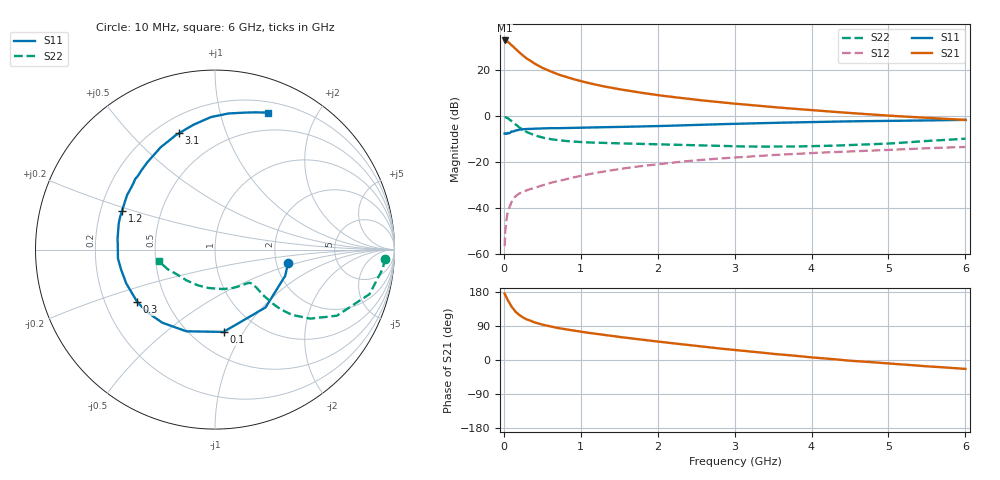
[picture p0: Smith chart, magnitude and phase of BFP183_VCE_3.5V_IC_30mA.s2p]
! Infineon Technologies  Discrete & RF Semiconductors
! BFP183
! VCE = 3.5 V,  IC =  30 mA
! Common Emitter S-Parameters:  Jan 2016
# GHz  S  MA  R  50
!  f  S11  S21  S12  S22
! GHz  MAG  ANG  MAG  ANG  MAG  ANG  MAG  ANG
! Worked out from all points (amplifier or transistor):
!   210 points, 10 MHz to 6 GHz, reference 50 ohm
!   highest |S21| = 32.7 dB at 10 MHz (marker M1)
!   |S21| within 3 dB of that: start of sweep to 131.6 MHz
!   unconditionally stable (mu >= 1): 648.4 MHz to 5.638 GHz
!   at 185 MHz: K = 0.48, MSG = 31.0 dB, |S12| = -34.0 dB
!   at 1.52 GHz: K = 1.17, MAG = 14.7 dB, |S12| = -23.0 dB
!   at 6 GHz: K = 0.95, MSG = 5.9 dB, |S12| = -13.5 dB
!   S11 on the Smith chart (normalised r, x): 10 MHz: 2.33, -0.41; 100 MHz: 0.70, -0.82; 300 MHz: 0.34, -0.27; 1.2 GHz: 0.29, +0.18; 3.1 GHz: 0.29, +0.70; 6 GHz: 0.31, +1.42
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0.01  0.4147 -10.0  43.13 175.3  0.0015 81.9  0.9488 -3.0
0.02  0.4174 -20.5  42.93 171.1  0.0034 82.7  0.9404 -6.6
0.05  0.428 -48.8  40.79 158.0  0.008 77.3  0.8958 -16.1
0.1  0.461 -84.1  34.4 140.6  0.0136 62.3  0.7722 -28.5
0.15  0.4823 -109.3  28.58 127.8  0.0179 56.1  0.6561 -35.9
0.2  0.5022 -125.8  23.87 118.7  0.0208 52.8  0.5639 -40.2
0.24  0.5108 -135.5  20.87 113.5  0.022 52.0  0.5093 -41.8
0.26  0.5156 -139.5  19.6 111.1  0.0227 51.7  0.4855 -42.4
0.3  0.5222 -146.2  17.44 106.9  0.0245 51.4  0.4446 -43.0
0.4  0.5292 -159.1  13.58 99.0  0.0276 52.5  0.3788 -43.4
0.5  0.5353 -168.3  11 93.2  0.0313 52.8  0.3396 -43.0
0.6  0.5429 -174.9  9.323 88.6  0.0353 55.0  0.314 -42.5
0.7  0.541 178.6  7.975 84.6  0.0383 56.3  0.298 -42.4
0.8  0.5461 174.0  7.056 81.1  0.0419 56.4  0.2864 -42.4
1.02  0.5562 164.2  5.551 74.1  0.0506 57.4  0.2702 -43.5
1.2  0.5603 157.5  4.721 69.1  0.0581 57.0  0.2624 -45.2
1.52  0.577 147.3  3.742 60.4  0.0712 56.0  0.2537 -49.5
2.02  0.6035 132.4  2.788 48.3  0.0906 52.4  0.2419 -58.9
3.1  0.6786 107.2  1.779 24.6  0.1288 42.5  0.2178 -87.3
4.1  0.7425 90.2  1.295 5.3  0.1592 33.3  0.2221 -119.8
5.1  0.7823 77.4  0.99 -10.6  0.1859 25.3  0.2571 -148.6
6  0.8191 68.7  0.817 -23.5  0.212 16.8  0.3204 -168.5
